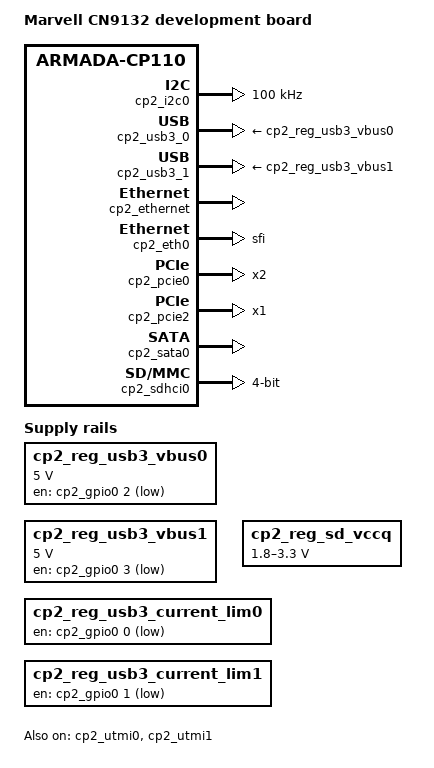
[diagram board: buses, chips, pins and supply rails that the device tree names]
// SPDX-License-Identifier: GPL-2.0+
/*
 * Copyright (C) 2018-2021 Marvell International Ltd.
 */

#undef CP110_NAME
#undef CP110_NUM
#undef CP110_PCIE_MEM_SIZE
#undef CP110_PCIEx_CPU_MEM_BASE
#undef CP110_PCIEx_BUS_MEM_BASE

/* CP110-2 Settings */
#define CP110_NAME			cp2
#define CP110_NUM			2
#define CP110_PCIE_MEM_SIZE(iface)	(0xf00000)
#define CP110_PCIEx_CPU_MEM_BASE(iface)	(0xe5000000 + (iface) *  0x1000000)
#define CP110_PCIEx_BUS_MEM_BASE(iface)	(CP110_PCIEx_CPU_MEM_BASE(iface))

#include "armada-cp110.dtsi"

/ {
	model = "Marvell CN9132 development board";
	compatible = "marvell,cn9132-db";

	aliases {
		gpio5 = &cp2_gpio0;
		gpio6 = &cp2_gpio1;
	};

	cp2 {
		config-space {
			sdhci@780000 {
				vqmmc-supply = <&cp2_reg_sd_vccq>;
			};

			cp2_reg_usb3_vbus0: cp2_usb3_vbus@0 {
				compatible = "regulator-fixed";
				regulator-name = "cp2-xhci0-vbus";
				regulator-min-microvolt = <5000000>;
				regulator-max-microvolt = <5000000>;
				startup-delay-us = <100000>;
				regulator-force-boot-off;
				gpio = <&cp2_gpio0 2 GPIO_ACTIVE_HIGH>;
			};

			cp2_reg_usb3_vbus1: cp2_usb3_vbus@1 {
				compatible = "regulator-fixed";
				regulator-name = "cp2-xhci1-vbus";
				regulator-min-microvolt = <5000000>;
				regulator-max-microvolt = <5000000>;
				startup-delay-us = <100000>;
				regulator-force-boot-off;
				gpio = <&cp2_gpio0 3 GPIO_ACTIVE_HIGH>;
			};
			cp2_reg_sd_vccq: cp2_sd_vccq@0 {
				compatible = "regulator-gpio";
				regulator-name = "cp2_sd_vcc";
				regulator-min-microvolt = <1800000>;
				regulator-max-microvolt = <3300000>;
				/* cp2_mpp49 */
				gpios = <&cp2_gpio1 17 GPIO_ACTIVE_HIGH>;
				states = <1800000 0x1
					  3300000 0x0>;
			};
			cp2_reg_usb3_current_lim0: cp2_usb3_current_limiter@0 {
				compatible = "regulator-fixed";
				regulator-min-microamp = <900000>;
				regulator-max-microamp = <900000>;
				regulator-force-boot-off;
				gpio = <&cp2_gpio0 0 GPIO_ACTIVE_HIGH>;
			};

			cp2_reg_usb3_current_lim1: cp2_usb3_current_limiter@1 {
				compatible = "regulator-fixed";
				regulator-min-microamp = <900000>;
				regulator-max-microamp = <900000>;
				regulator-force-boot-off;
				gpio = <&cp2_gpio0 1 GPIO_ACTIVE_HIGH>;
			};
		};
	};
};

&cp2_i2c0 {
	pinctrl-names = "default";
	pinctrl-0 = <&cp2_i2c0_pins>;
	status = "okay";
	clock-frequency = <100000>;
};

&cp2_pinctl {
	compatible = "marvell,mvebu-pinctrl",
		     "marvell,cp115-standalone-pinctrl";
	bank-name ="cp2-110";

	/* MPP Bus:
	 *	[0-26]		GPIO
	 *	[27]		SATA0_PRESENT_ACTIVEn
	 *	[28]		SATA1_PRESENT_ACTIVEn
	 *	[29-31, 33]	GPIO (Default)
	 *	[32,34]		SMI
	 *	[37-38]		I2C0
	 *	[39-53]		GPIO
	 *	[54]		SD_CRD_RSTn (out)
	 *	[55]		SD_CRD_DT (in)
	 *	[56-62]		SDIO
	 */
		/*   0    1    2    3    4    5    6    7    8    9 */
	pin-func = < 0x0  0x0  0x0  0x0  0x0  0x0  0x0  0x0  0x0  0x0
		     0x0  0x0  0x0  0x0  0x0  0x0  0x0  0x0  0x0  0x0
		     0x0  0x0  0x0  0x0  0x0  0x0  0x0  0x9  0x9  0x0
		     0x0  0x0  0x8  0x0  0x8  0x0  0x0  0x2  0x2  0x0
		     0x0  0x0  0x0  0x0  0x0  0x0  0x0  0x0  0x0  0x0
		     0x0  0x0  0x0  0x0  0xa  0xb  0xe  0xe  0xe  0xe
		     0xe  0xe  0xe >;

	cp2_i2c0_pins: cp2-i2c-pins-0 {
		marvell,pins = < 37 38 >;
		marvell,function = <2>;
	};

	cp2_sdhci_pins: cp2-sdhi-pins-0 {
		marvell,pins = < 56 57 58 59 60 61 >;
		marvell,function = <14>;
	};
};

&cp2_usb3_0 {
	status = "okay";
	vbus-supply = <&cp2_reg_usb3_vbus0>;
	current-limiter = <&cp2_reg_usb3_current_lim0>;
	vbus-disable-delay = <500>;
};

/* SLM-1521-V2, CON11 */
&cp2_usb3_1 {
	status = "okay";
	vbus-supply = <&cp2_reg_usb3_vbus1>;
	current-limiter = <&cp2_reg_usb3_current_lim1>;
	vbus-disable-delay = <500>;
	status = "okay";
};

&cp2_utmi0 {
	status = "okay";
};

&cp2_utmi1 {
	status = "okay";
};

&cp2_comphy {
	phy0 {
		phy-type = <COMPHY_TYPE_PEX0>;
	};

	phy1 {
		phy-type = <COMPHY_TYPE_PEX0>;
	};

	phy2 {
		phy-type = <COMPHY_TYPE_SATA0>;
	};

	phy3 {
		phy-type = <COMPHY_TYPE_USB3_HOST1>;
	};

	phy4 {
		phy-type = <COMPHY_TYPE_SFI0>;
		phy-speed = <COMPHY_SPEED_10_3125G>;
	};

	phy5 {
		phy-type = <COMPHY_TYPE_PEX2>;
	};
};

&cp2_ethernet {
	status = "okay";
};

/* SLM-1521-V2, CON9 */
&cp2_eth0 {
	status = "okay";
	phy-mode = "sfi";
};

/* SLM-1521-V2, CON6 */
&cp2_pcie0 {
	/* non-prefetchable memory */
	ranges =<0x82000000 0 0xe5000000 0 0xe5000000 0 0x1000000>;
	num-lanes = <2>;
	status = "okay";
};

/* SLM-1521-V2, CON8 */
&cp2_pcie2 {
	num-lanes = <1>;
	status = "okay";
};

&cp2_pinctl {
};

/* SLM-1521-V2, CON4 */
&cp2_sata0 {
	status = "okay";
};

/* CON 2 on SLM-1683 - microSD */
&cp2_sdhci0 {
	pinctrl-names = "default";
	pinctrl-0 = <&cp2_sdhci_pins>;
	bus-width = <4>;
	status = "okay";
};
